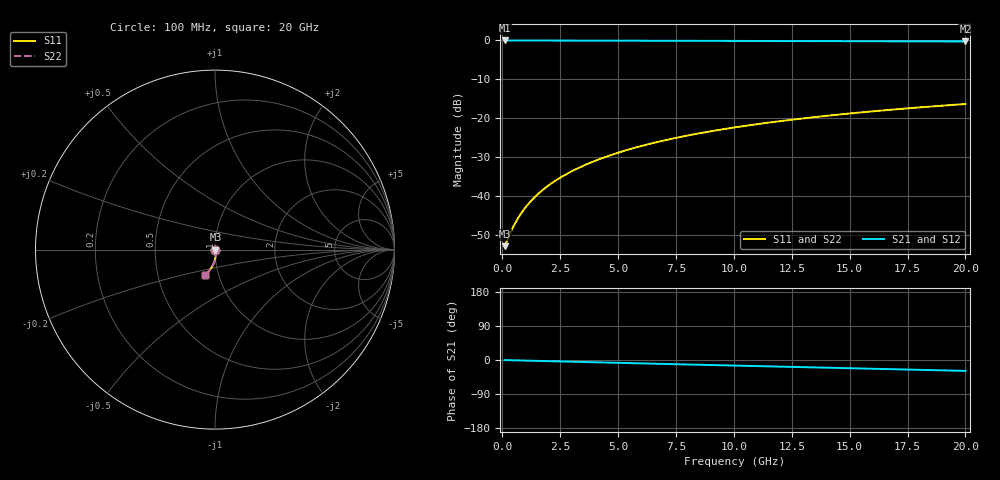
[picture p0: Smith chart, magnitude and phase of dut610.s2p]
! Touchstone file exported from HFSS 2026.1.0
!  File:  C:/ffzhzh/LocalFiles/Ansys_Project_Files/temp_train_TMRDL_610_1783008758_51716.aedt
!  Generated:  12:13:50 AM Jul  3, 2026
!  Design:  TMRDL
!  Project:  temp_train_TMRDL_610_1783008758_51716
! Variables:
!  h_bsmrdl = 2um
!  h_ox = 20um
!  h_rdl = 5um
!  h_sub = 80um
!  h_tmrdl = 5.56um
!  h_tsv = 80um
!  h_via = 3um
!  l_bsmrdl = 300um
!  l_sub = 894.02um
!  l_tmrdl = 494.02um
!  m_sub = 200um
!  pitch = 17.93um
!  r_tsv = 6um
!  s_tmrdl = 10um
!  w_bsmrdl = 18um
!  w_sub = 500um
!  w_tmrdl = 15.57um
!  x_tsv_center1 = 501.805um
!  x_tsv_center2 = 819.805um
!  x_tsv_center3 = 1329.395um
!  x_tsv_center4 = 1647.395um
!  x_tsv_center5 = 2156.985um
!  x_tsv_center6 = 2474.985um
# GHz S MA R 50.000000
! Terminal data exported
! Port[1] = TM_RDL1_1_T1
! Port[2] = TM_RDL1_1_T2
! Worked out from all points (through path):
!   200 points, 100 MHz to 20 GHz, reference 50 ohm
!   highest |S21| = -0.02 dB at 100 MHz (marker M1); lowest = -0.3 dB at 20 GHz (marker M2)
!   group delay of S21, straight-line fit = 3.97 ps
!   lowest |S11| = -53.0 dB at 100 MHz (marker M3), VSWR 1.00, Z = 50.2 - j0.0159 ohm
!   |S11| at or under -10 dB: start of sweep to end of sweep
!   |S22| runs from -53.0 to -16.4 dB; largest |S21 - S12| = 2.3e-15
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0.1  0.002238 -4.1  0.9978 -0.2  0.9978 -0.2  0.002238 -4.1
! Gamma 0 0 0 0
! Port Impedance 50 0 50 0
0.4  0.003582 -28.8  0.9968 -0.7  0.9968 -0.7  0.003582 -28.8
0.5  0.004116 -36.1  0.9966 -0.8  0.9966 -0.8  0.004116 -36.1
0.7  0.005245 -47.2  0.9964 -1.1  0.9964 -1.1  0.005245 -47.2
0.8  0.005833 -51.3  0.9962 -1.3  0.9962 -1.3  0.005834 -51.3
1  0.007048 -57.7  0.9961 -1.6  0.9961 -1.6  0.007049 -57.7
1.3  0.00894 -64.1  0.9958 -2.0  0.9958 -2.0  0.008941 -64.1
1.5  0.01024 -67.1  0.9956 -2.3  0.9956 -2.3  0.01024 -67.1
1.7  0.01156 -69.4  0.9954 -2.6  0.9954 -2.6  0.01156 -69.4
2.2  0.01496 -73.6  0.9948 -3.4  0.9948 -3.4  0.01496 -73.6
2.8  0.01919 -76.9  0.9941 -4.3  0.9941 -4.3  0.01919 -76.9
3.5  0.0243 -79.6  0.9931 -5.3  0.9931 -5.3  0.0243 -79.6
4.2  0.02958 -81.8  0.9921 -6.3  0.9921 -6.3  0.02958 -81.8
5  0.03575 -84.0  0.991 -7.5  0.991 -7.5  0.03576 -83.9
5.9  0.04282 -86.2  0.9897 -8.8  0.9897 -8.8  0.04282 -86.2
6.8  0.04996 -88.3  0.9884 -10.1  0.9884 -10.1  0.04997 -88.2
8.3  0.06192 -91.5  0.9864 -12.3  0.9864 -12.3  0.06193 -91.4
10.1  0.07624 -95.0  0.9839 -14.8  0.9839 -14.8  0.07626 -95.0
11.7  0.08887 -98.0  0.9817 -17.1  0.9817 -17.1  0.08889 -97.9
13.4  0.1021 -101.0  0.9792 -19.5  0.9792 -19.5  0.1022 -100.9
16.7  0.1273 -106.5  0.9741 -24.1  0.9741 -24.1  0.1273 -106.4
20  0.1515 -111.7  0.9685 -28.7  0.9685 -28.7  0.1515 -111.6
